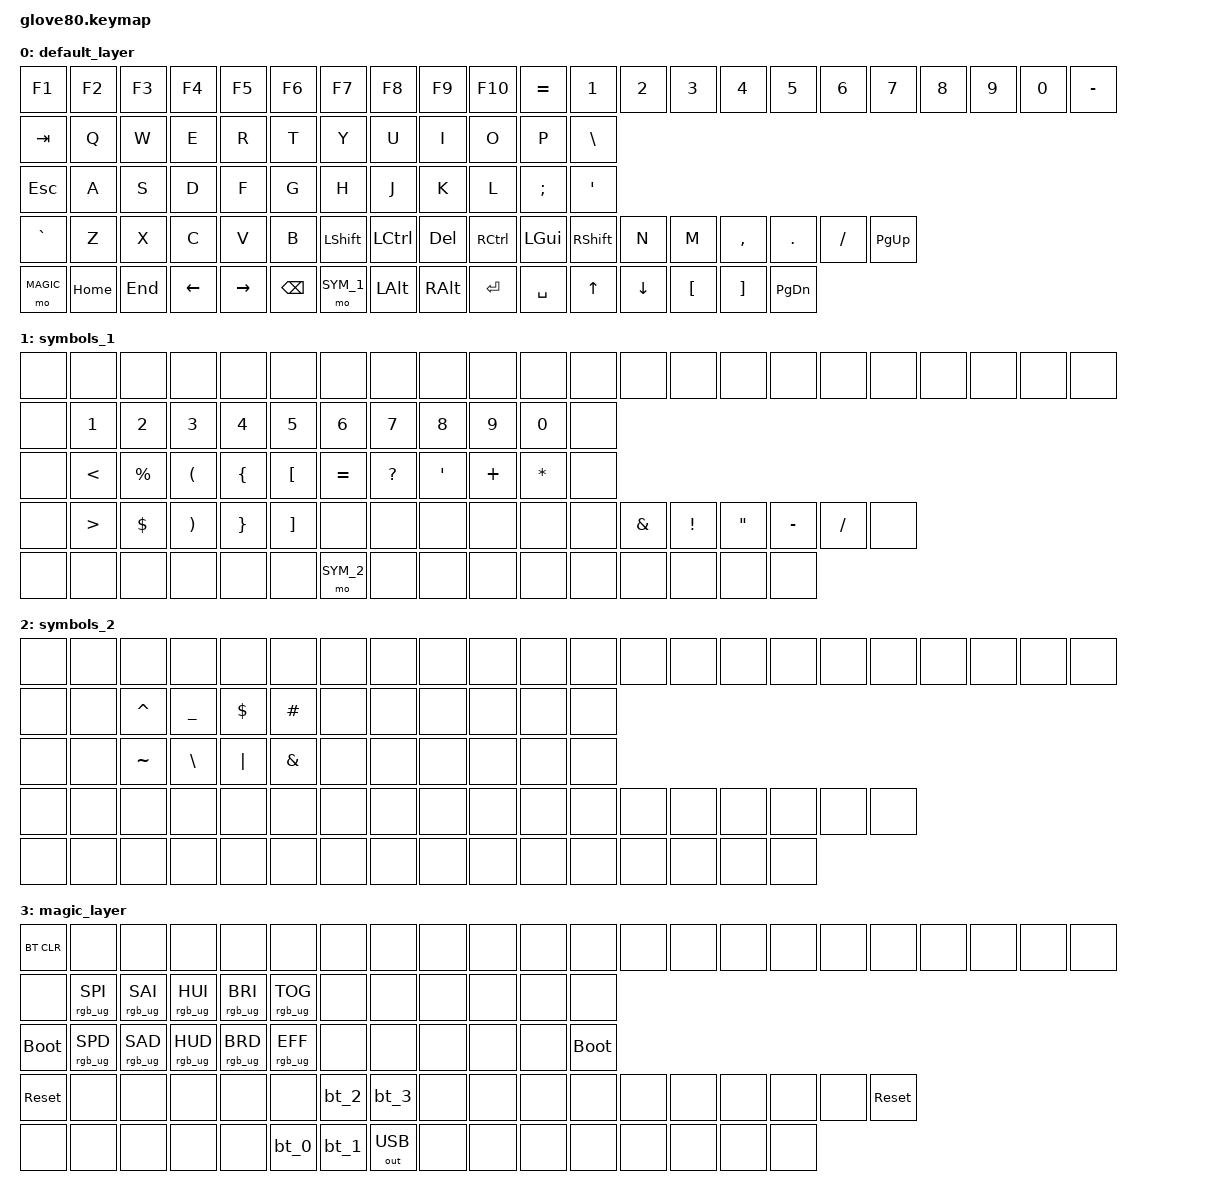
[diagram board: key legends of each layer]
/*
 * Copyright (c) 2020 The ZMK Contributors
 *
 * SPDX-License-Identifier: MIT
 */

#include <behaviors.dtsi>
#include <dt-bindings/zmk/keys.h>
#include <dt-bindings/zmk/bt.h>
#include <dt-bindings/zmk/ext_power.h>
#include <dt-bindings/zmk/outputs.h>
#include <dt-bindings/zmk/rgb.h>

// layers
#define DEFAULT 0
#define SYM_1 1
#define SYM_2 2
#define MAGIC 3

/ {
    behaviors {
        // For the "layer" key, it'd nice to be able to use it as either a shift or a toggle.
        // Configure it as a tap dance, so the first tap (or hold) is a &mo and the second tap is a &to
        layer_td: tap_dance_0 {
            compatible = "zmk,behavior-tap-dance";
            #binding-cells = <0>;
            tapping-term-ms = <200>;
            bindings = <&mo 0>, <&to 0>;
        };
    };

    macros {
        bt_0: bt_profile_macro_0 {
            compatible = "zmk,behavior-macro";
            #binding-cells = <0>;
            bindings
                = <&out OUT_BLE>,
                  <&bt BT_SEL 0>;
        };

        bt_1: bt_profile_macro_1 {
            compatible = "zmk,behavior-macro";
            #binding-cells = <0>;
            bindings
                = <&out OUT_BLE>,
                  <&bt BT_SEL 1>;
        };

        bt_2: bt_profile_macro_2 {
            compatible = "zmk,behavior-macro";
            #binding-cells = <0>;
            bindings
                = <&out OUT_BLE>,
                  <&bt BT_SEL 2>;
        };

        bt_3: bt_profile_macro_3 {
            compatible = "zmk,behavior-macro";
            #binding-cells = <0>;
            bindings
                = <&out OUT_BLE>,
                  <&bt BT_SEL 3>;
        };
    };

    keymap {
        compatible = "zmk,keymap";

        default_layer {
            // ---------------------------------------------------------------------------------------------------------------------------------
            // |  F1   |  F2 |  F3 |  F4  |  F5  |                                                               |  F6   |  F7   |  F8  |   F9  |  F10 |
            // |  =    |  1  |  2  |  3   |  4   |  5   |                                                 |  6   |   7   |   8   |  9   |   0   |   -  |
            // |  TAB  |  Q  |  W  |  E   |  R   |  T   |                                                 |  Y   |   U   |   I   |  O   |   P   |   \  |
            // |  ESC  |  A  |  S  |  D   |  F   |  G   |                                                 |  H   |   J   |   K   |  L   |   ;   |   '  |
            // |   `   |  Z  |  X  |  C   |  V   |  B   | LSHFT | LCTRL | LOWER | | RCTRL | LGUI | RSHFT |  N   |   M   |   ,   |  .   |   /   | PGUP |
            // | MAGIC | HOME| END | LEFT | RIGHT|      | BSPC  | DEL   | LALT  | | RALT  | RET   | SPACE |      |  UP   | DOWN  |  [   |   ]   | PGDN |

            bindings = <
  &kp F1     &kp F2    &kp F3   &kp F4    &kp F5                                                                                         &kp F6  &kp F7     &kp F8    &kp F9    &kp F10 &kp EQUAL  &kp N1    &kp N2   &kp N3    &kp N4     &kp N5                                                                      &kp N6  &kp N7  &kp N8     &kp N9    &kp N0    &kp MINUS
  &kp TAB    &kp Q     &kp W    &kp E     &kp R      &kp T                                                                       &kp Y   &kp U   &kp I      &kp O     &kp P     &kp BSLH
  &kp ESC    &kp A     &kp S    &kp D     &kp F      &kp G                                                                       &kp H   &kp J   &kp K      &kp L     &kp SEMI  &kp SQT
  &kp GRAVE  &kp Z     &kp X    &kp C     &kp V      &kp B   &kp LSHFT  &kp LCTRL  &kp DELETE    &kp RCTRL  &kp LGUI  &kp RSHFT  &kp N   &kp M   &kp COMMA  &kp DOT   &kp FSLH  &kp PG_UP
  &mo MAGIC      &kp HOME  &kp END  &kp LEFT  &kp RIGHT          &kp BSPC   &mo SYM_1      &kp LALT      &kp RALT   &kp RET   &kp SPACE          &kp UP  &kp DOWN   &kp LBKT  &kp RBKT  &kp PG_DN
            >;
        };

        symbols_1 {
            bindings = <
&none  &none             &none        &none                  &none                                                                                      &none         &none              &none      &none      &none
&none  &none             &none        &none                  &none            &none                                                          &none      &none         &none              &none      &none      &none
&none  &kp N1            &kp N2       &kp N3                 &kp N4           &kp N5                                                         &kp N6     &kp N7        &kp N8             &kp N9     &kp N0     &none
&none  &kp LESS_THAN     &kp PERCENT  &kp LEFT_PARENTHESIS   &kp LEFT_BRACE   &kp LEFT_BRACKET                                               &kp EQUAL  &kp QUESTION  &kp SQT            &kp PLUS   &kp STAR   &none
&none  &kp GREATER_THAN  &kp DOLLAR   &kp RIGHT_PARENTHESIS  &kp RIGHT_BRACE  &kp RIGHT_BRACKET  &none  &none  &none    &none  &none  &none  &kp AMPS   &kp EXCL      &kp DOUBLE_QUOTES  &kp MINUS  &kp SLASH  &none
&none  &none             &none        &none                  &none                               &none  &mo SYM_2  &none    &none  &none  &none             &none         &none              &none      &none      &none
            >;
        };

        symbols_2 {
            bindings = <
&none  &none  &none      &none          &none                                                                    &none  &none  &none  &none  &none
&none  &none  &none      &none          &none       &none                                                 &none  &none  &none  &none  &none  &none
&none  &none  &kp CARET  &kp UNDER      &kp DOLLAR  &kp HASH                                              &none  &none  &none  &none  &none  &none
&none  &none  &kp TILDE  &kp BACKSLASH  &kp PIPE    &kp AMPS                                              &none  &none  &none  &none  &none  &none
&none  &none  &none      &none          &none       &none     &none  &none  &none    &none  &none  &none  &none  &none  &none  &none  &none  &none
&none  &none  &none      &none          &none                 &none  &none  &none    &none  &none  &none         &none  &none  &none  &none  &none
            >;
        };

        magic_layer {
            bindings = <
            &bt BT_CLR        &none               &none           &none           &none                                                                                                           &none      &none      &none      &none      &none
            &none             &none               &none           &none           &none           &none                                                                                &none      &none      &none      &none      &none      &none
            &none             &rgb_ug RGB_SPI     &rgb_ug RGB_SAI &rgb_ug RGB_HUI &rgb_ug RGB_BRI &rgb_ug RGB_TOG                                                                      &none      &none      &none      &none      &none      &none
            &bootloader       &rgb_ug RGB_SPD     &rgb_ug RGB_SAD &rgb_ug RGB_HUD &rgb_ug RGB_BRD &rgb_ug RGB_EFF                                                                      &none      &none      &none      &none      &none      &bootloader
            &sys_reset        &none               &none           &none           &none           &none           &bt_2     &bt_3     &none            &none     &none     &none       &none      &none      &none      &none      &none      &sys_reset
            &none             &none               &none           &none           &none                           &bt_0     &bt_1     &out OUT_USB     &none     &none     &none                  &none      &none      &none      &none      &none
            >;
        };
    };
};
